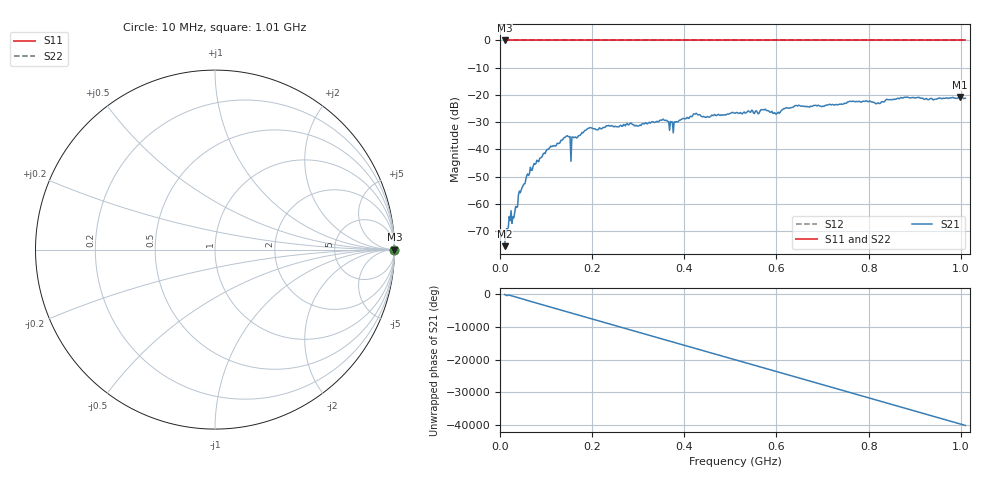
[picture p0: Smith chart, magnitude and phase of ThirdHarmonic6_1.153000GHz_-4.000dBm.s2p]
! 8/16/2025 11:27:57 AM
! C:\ANRITSUVNA\TEMP\TEMP.S2P
! CHANNEL.1
! TR.MEASUREMENT
! RAW.DATA
! RF.CORRECTION.OFF
! AVERAGING.OFF
! IF.BANDWIDTH: 5KHZ
! SWEEPTYPE:  FREQ.SWEEP(Linear)
! Reference Plane Port Info
! PORT:  PORT1  PORT2
! DISTANCE:  0  m  0  m
! TIME:  0  s  0  s
! PHASE.OFFSET:  0  deg.  0  deg.
! LOSS:  0  dB  0  dB
! REF.LOSS:  0  dB  0  dB
! REF.FREQ:  0  Hz  0  Hz
! Power Info
! POWER:  -20  dBm  -20  dBm
! EFF.POWER:  -20  dBm  -20  dBm
! SOURCE.ATTEN:  0  dB  0  dB
! TEST.ATTEN:  0  dB  0  dB
# GHZ S RI R 50.0
! FREQ.GHZ  S11RE  S11IM  S21RE  S21IM  S12RE  S12IM  S22RE  S22IM
!; PortSelection: Port_12
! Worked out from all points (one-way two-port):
!   501 points, 10 MHz to 1.01 GHz, reference 50 ohm
!   highest |S21| = -20.76 dB at 998 MHz (marker M1); lowest = -75.6 dB at 10 MHz (marker M2)
!   lowest |S11| = 0.0 dB at 10 MHz (marker M3)
!   |S11| at or under -10 dB: nowhere
!   |S22| runs from 0.0 to 0.0 dB; largest |S21 - S12| = 1.1
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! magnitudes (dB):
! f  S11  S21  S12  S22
! 10 MHz  0.0  -75.6  0.0  0.0
! 20 MHz  0.0  -64.7  0.0  0.0
! 30 MHz  0.0  -65.1  0.0  0.0
! 44 MHz  0.0  -56.0  0.0  0.0
! 76 MHz  0.0  -45.5  0.0  0.0
! 142 MHz  0.0  -35.5  0.0  0.0
! 158 MHz  0.0  -35.4  0.0  0.0
! 160 MHz  0.0  -35.7  0.0  0.0
! 178 MHz  0.0  -33.8  0.0  0.0
! 194 MHz  0.0  -32.2  0.0  0.0
! 344 MHz  0.0  -29.9  0.0  0.0
! 372 MHz  0.0  -30.0  0.0  0.0
! 424 MHz  0.0  -27.0  0.0  0.0
! 450 MHz  0.0  -28.0  0.0  0.0
! 510 MHz  0.0  -26.7  0.0  0.0
! 572 MHz  0.0  -25.5  0.0  0.0
! 602 MHz  0.0  -26.6  0.0  0.0
! 644 MHz  0.0  -23.9  0.0  0.0
! 678 MHz  0.0  -24.2  0.0  0.0
! 844 MHz  0.0  -21.8  0.0  0.0
! 998 MHz  0.0  -20.8  0.0  0.0
! 1.01 GHz  0.0  -21.2  0.0  0.0
